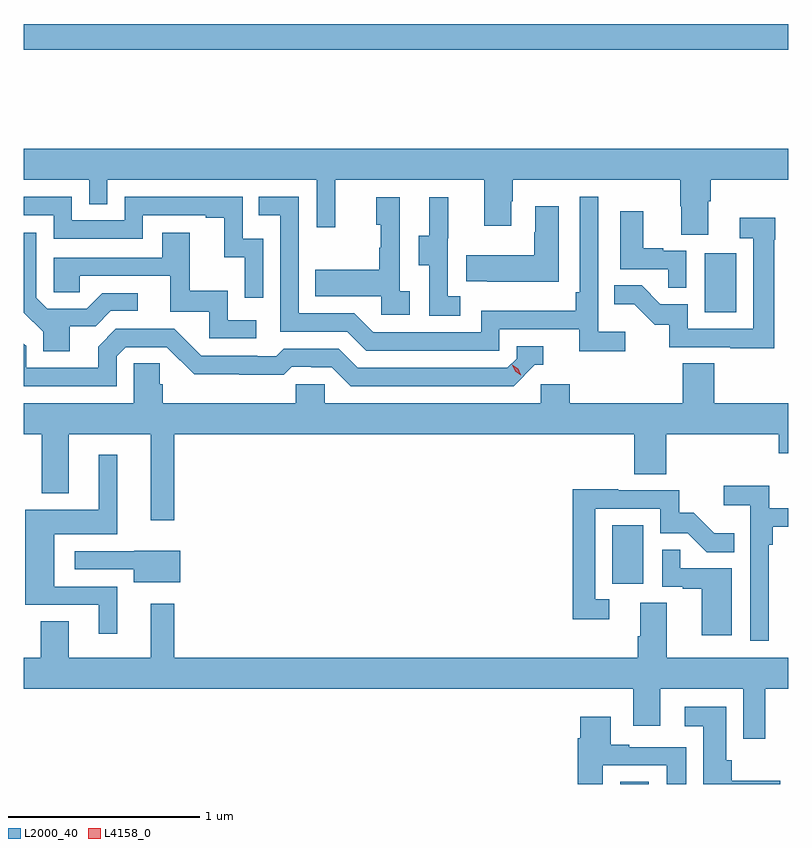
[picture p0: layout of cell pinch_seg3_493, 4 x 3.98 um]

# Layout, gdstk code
import gdstk
lib = gdstk.Library(unit=1e-6, precision=1e-09)
def R(c, l, rs):  # rectangles x0, y0, x1, y1
    for r in rs: c.add(gdstk.rectangle(r[:2], r[2:], *l))
def P(c, l, *ps):  # polygons
    for p in ps: c.add(gdstk.Polygon(p, *l))
L2000_40 = (2000, 40)
L4158_0 = (4158, 0)

pinch_seg3_493 = lib.new_cell('pinch_seg3_493')
R(pinch_seg3_493, L2000_40, [(1001.636,677.774,1001.785,677.786), (1001.594,678.822,1001.758,679.129), (1002.08,680.244,1002.244,680.551), (998.515,681.616,1002.515,681.752)])
P(pinch_seg3_493, L2000_40, [(1002.097,680.824),(1002.11,680.824),(1002.11,680.936),(1002.515,680.936),(1002.515,681.1),(998.515,681.1),(998.515,680.936),(998.856,680.936),(998.856,680.809),(998.952,680.809),(998.952,680.936),(1000.047,680.936),(1000.047,680.688),(1000.145,680.688),(1000.145,680.936),(1000.925,680.936),(1000.925,680.697),(1001.065,680.697),(1001.065,680.825),(1001.073,680.825),(1001.073,680.936),(1001.95,680.936),(1001.95,680.799),(1001.957,680.799),(1001.957,680.65),(1002.097,680.65)],
  [(1001.662,680.14),(1001.52,680.14),(1001.52,680.848),(1001.424,680.848),(1001.424,680.347),(1001.404,680.347),(1001.404,680.251),(1000.908,680.251),(1000.908,680.139),(1000.344,680.139),(1000.245,680.238),(999.954,680.238),(999.954,680.847),(999.745,680.847),(999.745,680.751),(999.858,680.751),(999.858,680.142),(1000.208,680.142),(1000.307,680.043),(1001.004,680.043),(1001.004,680.154),(1001.423,680.154),(1001.423,680.038),(1001.662,680.038)],
  [(999.768,680.628),(999.66,680.628),(999.66,680.847),(999.042,680.847),(999.042,680.724),(998.766,680.724),(998.766,680.847),(998.515,680.847),(998.515,680.751),(998.67,680.751),(998.67,680.628),(999.138,680.628),(999.138,680.751),(999.467,680.751),(999.467,680.739),(999.563,680.739),(999.563,680.531),(999.672,680.531),(999.672,680.319),(999.768,680.319)],
  [(1000.534,680.354),(1000.482,680.354),(1000.482,680.845),(1000.358,680.845),(1000.358,680.7),(1000.384,680.7),(1000.384,680.582),(1000.374,680.582),(1000.374,680.467),(1000.039,680.467),(1000.039,680.327),(1000.386,680.327),(1000.386,680.229),(1000.534,680.229)],
  [(1000.798,680.327),(1000.734,680.327),(1000.734,680.631),(1000.736,680.631),(1000.736,680.845),(1000.637,680.845),(1000.637,680.643),(1000.583,680.643),(1000.583,680.488),(1000.638,680.488),(1000.638,680.224),(1000.798,680.224)],
  [(1001.314,680.797),(1001.192,680.797),(1001.192,680.661),(1001.185,680.661),(1001.185,680.542),(1000.831,680.542),(1000.831,680.405),(1000.939,680.405),(1000.939,680.402),(1001.314,680.402)],
  [(1001.982,680.565),(1001.861,680.565),(1001.861,680.578),(1001.758,680.578),(1001.758,680.773),(1001.636,680.773),(1001.636,680.469),(1001.887,680.469),(1001.887,680.371),(1001.982,680.371)],
  [(1002.442,680.624),(1002.449,680.624),(1002.449,680.737),(1002.261,680.737),(1002.261,680.631),(1002.333,680.631),(1002.333,680.157),(1001.991,680.157),(1001.991,680.286),(1001.846,680.286),(1001.748,680.384),(1001.605,680.384),(1001.605,680.285),(1001.709,680.285),(1001.816,680.178),(1001.893,680.178),(1001.893,680.061),(1002.211,680.061),(1002.211,680.056),(1002.442,680.056)],
  [(999.73,680.202),(999.582,680.202),(999.582,680.356),(999.383,680.356),(999.383,680.659),(999.239,680.659),(999.239,680.529),(998.67,680.529),(998.67,680.349),(998.807,680.349),(998.807,680.433),(999.281,680.433),(999.281,680.247),(999.486,680.247),(999.486,680.106),(999.73,680.106)],
  [(998.755,680.17),(998.89,680.17),(998.97,680.25),(999.112,680.25),(999.112,680.343),(998.924,680.343),(998.843,680.262),(998.637,680.262),(998.58,680.319),(998.58,680.659),(998.515,680.659),(998.515,680.24),(998.615,680.14),(998.615,680.038),(998.755,680.038)],
  [(999,680.013),(999.048,680.061),(999.264,680.061),(999.406,679.919),(999.642,679.919),(999.642,679.917),(999.875,679.917),(999.917,679.959),(1000.02,679.959),(1000.02,679.956),(1000.127,679.956),(1000.226,679.857),(1001.079,679.857),(1001.19,679.968),(1001.233,679.968),(1001.233,680.064),(1001.094,680.064),(1001.094,680.001),(1001.046,679.953),(1000.263,679.953),(1000.164,680.052),(999.875,680.052),(999.836,680.013),(999.737,680.013),(999.737,680.016),(999.444,680.016),(999.303,680.157),(998.997,680.157),(998.903,680.063),(998.903,679.953),(998.526,679.953),(998.526,680.067),(998.515,680.078),(998.515,679.857),(999,679.857)],
  [(999.301,679.604),(1001.711,679.604),(1001.711,679.396),(1001.876,679.396),(1001.876,679.604),(1002.467,679.604),(1002.467,679.506),(1002.515,679.506),(1002.515,679.768),(1002.128,679.768),(1002.128,679.976),(1001.963,679.976),(1001.963,679.768),(1001.372,679.768),(1001.372,679.866),(1001.22,679.866),(1001.22,679.768),(1000.089,679.768),(1000.089,679.866),(999.939,679.866),(999.939,679.768),(999.242,679.768),(999.242,679.866),(999.227,679.866),(999.227,679.976),(999.09,679.976),(999.09,679.768),(998.515,679.768),(998.515,679.604),(998.609,679.604),(998.609,679.295),(998.749,679.295),(998.749,679.604),(999.179,679.604),(999.179,679.155),(999.301,679.155)],
  [(999.004,678.807),(998.674,678.807),(998.674,679.082),(999.004,679.082),(999.004,679.498),(998.906,679.498),(998.906,679.21),(998.521,679.21),(998.521,678.711),(998.906,678.711),(998.906,678.561),(999.004,678.561)],
  [(1002.414,679.025),(1002.434,679.025),(1002.434,679.121),(1002.515,679.121),(1002.515,679.218),(1002.416,679.218),(1002.416,679.334),(1002.177,679.334),(1002.177,679.232),(1002.318,679.232),(1002.318,678.525),(1002.414,678.525)],
  [(1001.578,678.741),(1001.505,678.741),(1001.505,679.215),(1001.847,679.215),(1001.847,679.086),(1001.991,679.086),(1002.089,678.988),(1002.233,678.988),(1002.233,679.087),(1002.129,679.087),(1002.022,679.194),(1001.946,679.194),(1001.946,679.311),(1001.627,679.311),(1001.627,679.316),(1001.389,679.316),(1001.389,678.636),(1001.578,678.636)],
  [(1002.22,678.903),(1001.951,678.903),(1001.951,679.001),(1001.856,679.001),(1001.856,678.807),(1001.963,678.807),(1001.963,678.795),(1002.062,678.795),(1002.062,678.552),(1002.22,678.552)],
  [(999.334,678.994),(999.093,678.994),(999.093,678.993),(998.781,678.993),(998.781,678.897),(999.089,678.897),(999.089,678.83),(999.334,678.83)],
  [(1002.395,678.272),(1002.515,678.272),(1002.515,678.436),(1001.881,678.436),(1001.881,678.722),(1001.741,678.722),(1001.741,678.548),(1001.729,678.548),(1001.729,678.436),(999.301,678.436),(999.301,678.718),(999.179,678.718),(999.179,678.436),(998.749,678.436),(998.749,678.626),(998.602,678.626),(998.602,678.436),(998.515,678.436),(998.515,678.272),(1001.705,678.272),(1001.705,678.078),(1001.845,678.078),(1001.845,678.272),(1002.279,678.272),(1002.279,678.012),(1002.395,678.012)],
  [(1002.475,677.791),(1002.221,677.791),(1002.221,677.898),(1002.19,677.898),(1002.19,678.178),(1001.973,678.178),(1001.973,678.077),(1002.071,678.077),(1002.071,677.774),(1002.475,677.774)],
  [(1001.545,677.871),(1001.879,677.871),(1001.879,677.774),(1001.983,677.774),(1001.983,677.967),(1001.683,677.967),(1001.683,677.98),(1001.587,677.98),(1001.587,678.127),(1001.426,678.127),(1001.426,678.014),(1001.414,678.014),(1001.414,677.774),(1001.545,677.774)])
P(pinch_seg3_493, L4158_0, [(1001.116,679.914),(1001.086,679.935),(1001.071,679.968),(1001.071,679.968),(1001.071,679.968),(1001.102,679.948),(1001.116,679.915),(1001.116,679.914)])

lib.write_gds('pinch_seg3_493.gds')
